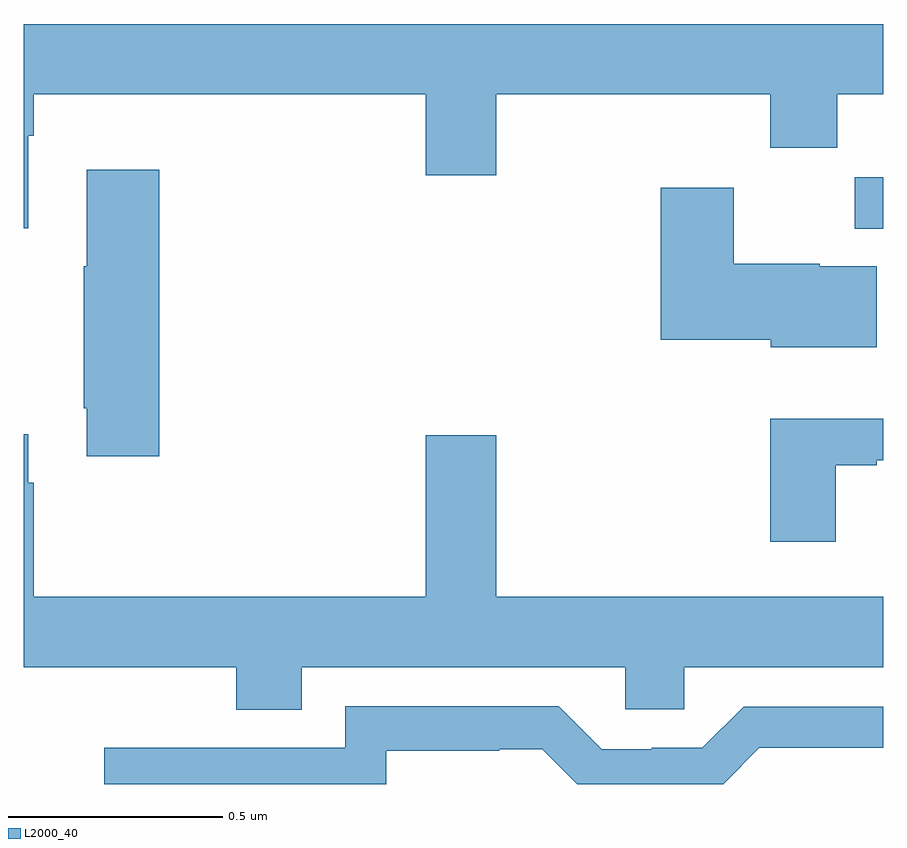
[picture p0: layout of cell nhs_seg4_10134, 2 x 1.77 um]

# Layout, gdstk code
import gdstk
lib = gdstk.Library(unit=1e-6, precision=1e-09)
def R(c, l, rs):  # rectangles x0, y0, x1, y1
    for r in rs: c.add(gdstk.rectangle(r[:2], r[2:], *l))
def P(c, l, *ps):  # polygons
    for p in ps: c.add(gdstk.Polygon(p, *l))
L2000_40 = (2000, 40)

nhs_seg4_10134 = lib.new_cell('nhs_seg4_10134')
R(nhs_seg4_10134, L2000_40, [(237.934,779.192,238,779.311)])
P(nhs_seg4_10134, L2000_40, [(236.011,779.408),(236.024,779.408),(236.024,779.504),(236.936,779.504),(236.936,779.316),(237.1,779.316),(237.1,779.504),(237.737,779.504),(237.737,779.38),(237.893,779.38),(237.893,779.504),(238,779.504),(238,779.668),(236,779.668),(236,779.193),(236.011,779.193)],
  [(236.315,779.329),(236.147,779.329),(236.147,779.105),(236.14,779.105),(236.14,778.774),(236.147,778.774),(236.147,778.662),(236.315,778.662)],
  [(237.985,779.104),(237.852,779.104),(237.852,779.11),(237.652,779.11),(237.652,779.287),(237.482,779.287),(237.482,778.934),(237.738,778.934),(237.738,778.916),(237.985,778.916)],
  [(237.889,778.641),(237.985,778.641),(237.985,778.653),(238,778.653),(238,778.75),(237.737,778.75),(237.737,778.464),(237.889,778.464)],
  [(236.647,778.172),(237.399,778.172),(237.399,778.074),(237.537,778.074),(237.537,778.172),(238,778.172),(238,778.336),(237.1,778.336),(237.1,778.711),(236.936,778.711),(236.936,778.336),(236.024,778.336),(236.024,778.601),(236.011,778.601),(236.011,778.714),(236,778.714),(236,778.172),(236.495,778.172),(236.495,778.073),(236.647,778.073)],
  [(236.844,777.977),(237.107,777.977),(237.107,777.981),(237.207,777.981),(237.288,777.9),(237.627,777.9),(237.711,777.984),(238,777.984),(238,778.08),(237.675,778.08),(237.579,777.984),(237.461,777.984),(237.461,777.981),(237.345,777.981),(237.245,778.081),(236.748,778.081),(236.748,777.984),(236.187,777.984),(236.187,777.9),(236.844,777.9)])

lib.write_gds('nhs_seg4_10134.gds')
